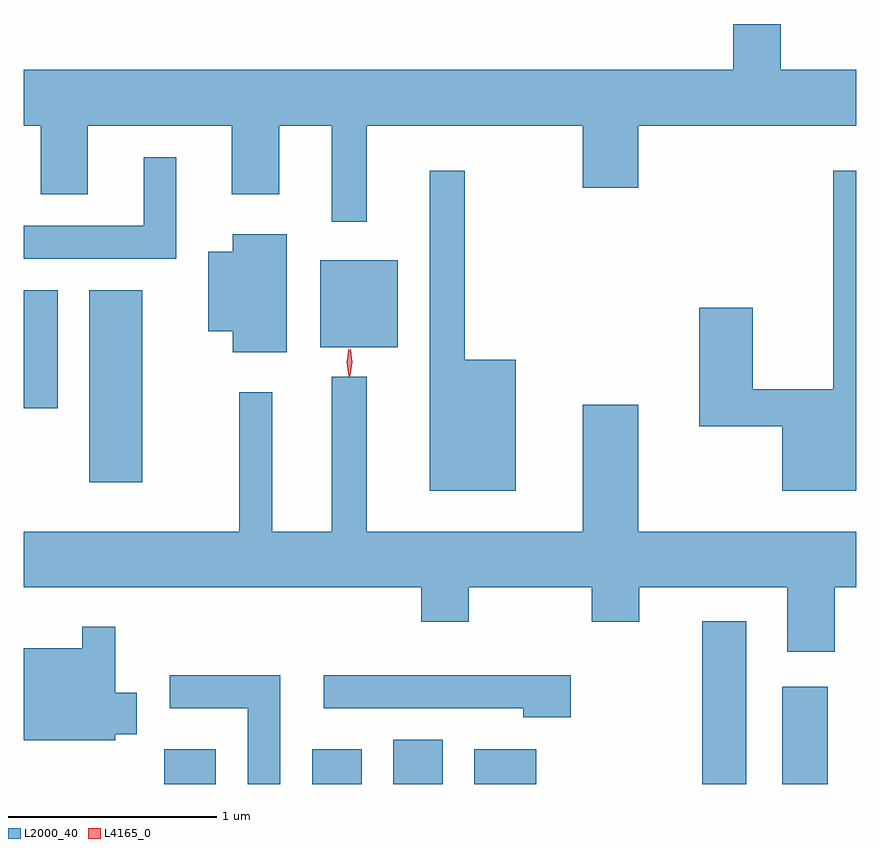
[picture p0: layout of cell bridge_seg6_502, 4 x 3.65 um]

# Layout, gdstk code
import gdstk
lib = gdstk.Library(unit=1e-6, precision=1e-09)
def R(c, l, rs):  # rectangles x0, y0, x1, y1
    for r in rs: c.add(gdstk.rectangle(r[:2], r[2:], *l))
def P(c, l, *ps):  # polygons
    for p in ps: c.add(gdstk.Polygon(p, *l))
L2000_40 = (2000, 40)
L4165_0 = (4165, 0)

bridge_seg6_502 = lib.new_cell('bridge_seg6_502')
R(bridge_seg6_502, L2000_40, [(552.726,1664.531,552.974,1664.699), (553.436,1664.531,553.674,1664.699), (553.826,1664.531,554.064,1664.744), (554.216,1664.531,554.514,1664.699), (555.311,1664.531,555.524,1665.314), (555.696,1664.531,555.914,1664.999), (552.366,1665.981,552.619,1666.904), (552.051,1666.336,552.214,1666.904), (553.476,1666.631,553.849,1667.049)])
P(bridge_seg6_502, L2000_40, [(553.699,1667.696),(554.736,1667.696),(554.736,1667.396),(555.004,1667.396),(555.004,1667.696),(556.051,1667.696),(556.051,1667.964),(555.689,1667.964),(555.689,1668.184),(555.461,1668.184),(555.461,1667.964),(552.051,1667.964),(552.051,1667.696),(552.131,1667.696),(552.131,1667.366),(552.359,1667.366),(552.359,1667.696),(553.051,1667.696),(553.051,1667.366),(553.279,1667.366),(553.279,1667.696),(553.531,1667.696),(553.531,1667.233),(553.699,1667.233)],
  [(552.784,1667.543),(552.626,1667.543),(552.626,1667.214),(552.051,1667.214),(552.051,1667.056),(552.784,1667.056)],
  [(556.051,1667.478),(555.941,1667.478),(555.941,1666.429),(555.554,1666.429),(555.554,1666.819),(555.296,1666.819),(555.296,1666.251),(555.696,1666.251),(555.696,1665.941),(556.051,1665.941)],
  [(554.414,1666.569),(554.169,1666.569),(554.169,1667.478),(554.001,1667.478),(554.001,1665.941),(554.414,1665.941)],
  [(553.314,1667.174),(553.056,1667.174),(553.056,1667.089),(552.936,1667.089),(552.936,1666.706),(553.056,1666.706),(553.056,1666.606),(553.314,1666.606)],
  [(555.949,1665.476),(556.051,1665.476),(556.051,1665.744),(555.004,1665.744),(555.004,1666.354),(554.736,1666.354),(554.736,1665.744),(553.699,1665.744),(553.699,1666.488),(553.531,1666.488),(553.531,1665.744),(553.244,1665.744),(553.244,1666.413),(553.086,1666.413),(553.086,1665.744),(552.051,1665.744),(552.051,1665.476),(553.961,1665.476),(553.961,1665.311),(554.189,1665.311),(554.189,1665.476),(554.781,1665.476),(554.781,1665.311),(555.009,1665.311),(555.009,1665.476),(555.721,1665.476),(555.721,1665.166),(555.949,1665.166)],
  [(552.489,1664.771),(552.594,1664.771),(552.594,1664.969),(552.489,1664.969),(552.489,1665.288),(552.331,1665.288),(552.331,1665.184),(552.051,1665.184),(552.051,1664.741),(552.489,1664.741)],
  [(554.679,1665.054),(553.493,1665.054),(553.493,1664.896),(554.451,1664.896),(554.451,1664.851),(554.679,1664.851)],
  [(553.284,1665.054),(552.753,1665.054),(552.753,1664.896),(553.126,1664.896),(553.126,1664.531),(553.284,1664.531)])
P(bridge_seg6_502, L4165_0, [(553.613,1666.49),(553.603,1666.558),(553.612,1666.626),(553.612,1666.626),(553.613,1666.626),(553.623,1666.558),(553.614,1666.49),(553.614,1666.49)],
  [(553.618,1666.493),(553.618,1666.493),(553.61,1666.558),(553.62,1666.621),(553.621,1666.622),(553.621,1666.621),(553.63,1666.557),(553.619,1666.493)])

lib.write_gds('bridge_seg6_502.gds')
